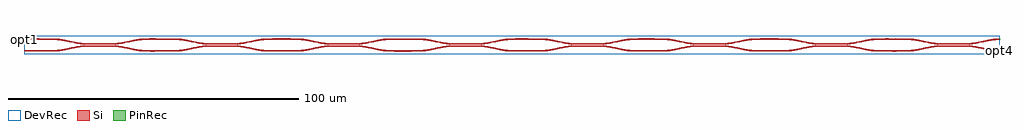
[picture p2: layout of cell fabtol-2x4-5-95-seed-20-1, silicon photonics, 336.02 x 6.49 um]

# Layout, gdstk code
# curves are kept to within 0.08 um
import gdstk
lib = gdstk.Library(unit=1e-6, precision=1e-09)
def R(c, l, rs):  # rectangles x0, y0, x1, y1
    for r in rs: c.add(gdstk.rectangle(r[:2], r[2:], *l))
def P(c, l, *ps):  # polygons
    for p in ps: c.add(gdstk.Polygon(p, *l))
Si = (1, 0)
PinRec = (1, 10)
DevRec = (68, 0)

layer_3_0_phase_sec_3_29 = lib.new_cell('layer-3_0_phase_sec_3$29')
P(layer_3_0_phase_sec_3_29, Si, [(4.977,-0.242),(0,-0.225),(0,0.225),(10,0.225),(10,-0.225)])

layer_3_0_phase_sec_2_29 = lib.new_cell('layer-3_0_phase_sec_2$29')
P(layer_3_0_phase_sec_2_29, Si, [(6.065,-0.238),(0,-0.225),(0,0.225),(10,0.225),(10,-0.225)])

layer_3_0_phase_sec_1_29 = lib.new_cell('layer-3_0_phase_sec_1$29')
P(layer_3_0_phase_sec_1_29, Si, [(5.796,-0.235),(0,-0.225),(0,0.225),(10,0.225),(10,-0.225)])

layer_3_0_phase_sec_0_29 = lib.new_cell('layer-3_0_phase_sec_0$29')
P(layer_3_0_phase_sec_0_29, Si, [(1.539,-0.244),(0,-0.225),(0,0.225),(10,0.225),(10,-0.225)])

layer_2_0_phase_sec_2_29 = lib.new_cell('layer-2_0_phase_sec_2$29')
P(layer_2_0_phase_sec_2_29, Si, [(1.406,-0.244),(0,-0.225),(0,0.225),(10,0.225),(10,-0.225)])

dc_arm_down_29 = lib.new_cell('dc_arm_down$29')
R(dc_arm_down_29, Si, [(12,-0.55,20,-0.1)])
P(dc_arm_down_29, Si, [(32,-2.225),(30.861,-2.188),(29.344,-2.033),(22.966,-0.793),(21.481,-0.613),(20,-0.55),(20,-0.1),(21.139,-0.137),(22.656,-0.292),(29.034,-1.532),(30.519,-1.712),(32,-1.775)],
  [(0,-2.225),(0,-1.775),(1.481,-1.712),(2.966,-1.532),(9.344,-0.292),(10.861,-0.137),(12,-0.1),(12,-0.55),(10.519,-0.613),(9.034,-0.793),(2.656,-2.033),(1.139,-2.188)])

dc_arm_up_29 = lib.new_cell('dc_arm_up$29')
R(dc_arm_up_29, Si, [(12,0.1,20,0.55)])
P(dc_arm_up_29, Si, [(20,0.1),(20,0.55),(21.481,0.613),(22.966,0.793),(29.344,2.033),(30.861,2.188),(32,2.225),(32,1.775),(30.519,1.712),(29.034,1.532),(22.656,0.292),(21.139,0.137)],
  [(12,0.1),(10.861,0.137),(9.344,0.292),(2.966,1.532),(1.481,1.712),(0,1.775),(0,2.225),(1.139,2.188),(2.656,2.033),(9.034,0.793),(10.519,0.613),(12,0.55)])

dc_29 = lib.new_cell('dc$29')
dc_29.add(gdstk.Reference(dc_arm_down_29, (0,0)))
dc_29.add(gdstk.Reference(dc_arm_up_29, (0,0)))

layer_0_0_phase_sec_2_29 = lib.new_cell('layer-0_0_phase_sec_2$29')
P(layer_0_0_phase_sec_2_29, Si, [(1.135,-0.238),(0,-0.225),(0,0.225),(10,0.225),(10,-0.225)])

layer_0_0_phase_sec_3_29 = lib.new_cell('layer-0_0_phase_sec_3$29')
P(layer_0_0_phase_sec_3_29, Si, [(1.544,-0.241),(0,-0.225),(0,0.225),(10,0.225),(10,-0.225)])

layer_1_0_phase_sec_0_29 = lib.new_cell('layer-1_0_phase_sec_0$29')
P(layer_1_0_phase_sec_0_29, Si, [(3.109,-0.242),(0,-0.225),(0,0.225),(10,0.225),(10,-0.225)])

layer_1_0_phase_sec_1_29 = lib.new_cell('layer-1_0_phase_sec_1$29')
P(layer_1_0_phase_sec_1_29, Si, [(2.522,-0.238),(0,-0.225),(0,0.225),(10,0.225),(10,-0.225)])

layer_1_0_phase_sec_2_29 = lib.new_cell('layer-1_0_phase_sec_2$29')
P(layer_1_0_phase_sec_2_29, Si, [(1.066,-0.228),(0,-0.225),(0,0.225),(10,0.225),(10,-0.225)])

layer_2_0_phase_sec_3_29 = lib.new_cell('layer-2_0_phase_sec_3$29')
P(layer_2_0_phase_sec_3_29, Si, [(2.375,-0.235),(0,-0.225),(0,0.225),(10,0.225),(10,-0.225)])

layer_1_0_phase_sec_3_29 = lib.new_cell('layer-1_0_phase_sec_3$29')
P(layer_1_0_phase_sec_3_29, Si, [(2.921,-0.249),(0,-0.225),(0,0.225),(10,0.225),(10,-0.225)])

layer_0_0_phase_sec_0_29 = lib.new_cell('layer-0_0_phase_sec_0$29')
P(layer_0_0_phase_sec_0_29, Si, [(2.12,-0.241),(0,-0.225),(0,0.225),(10,0.225),(10,-0.225)])

layer_2_0_phase_sec_0_29 = lib.new_cell('layer-2_0_phase_sec_0$29')
P(layer_2_0_phase_sec_0_29, Si, [(1.134,-0.239),(0,-0.225),(0,0.225),(10,0.225),(10,-0.225)])

layer_0_0_phase_sec_1_29 = lib.new_cell('layer-0_0_phase_sec_1$29')
P(layer_0_0_phase_sec_1_29, Si, [(2.446,-0.227),(0,-0.225),(0,0.225),(10,0.225),(10,-0.225)])

layer_2_0_phase_sec_1_29 = lib.new_cell('layer-2_0_phase_sec_1$29')
P(layer_2_0_phase_sec_1_29, Si, [(5.965,-0.24),(0,-0.225),(0,0.225),(10,0.225),(10,-0.225)])

fabtol_2x4_5_95_seed_20_ = lib.new_cell('fabtol-2x4-5-95-seed-20-1')
R(fabtol_2x4_5_95_seed_20_, DevRec, [(0,-1,336,5.493)])
fabtol_2x4_5_95_seed_20_.add(gdstk.FlexPath([(335.99,0.249),(336.01,0.249)], 0.45, ends="flush", simple_path=True, layer=1, datatype=10))  # PinRec
fabtol_2x4_5_95_seed_20_.add(gdstk.FlexPath([(335.99,4.249),(336.01,4.249)], 0.45, ends="flush", simple_path=True, layer=1, datatype=10))  # PinRec
fabtol_2x4_5_95_seed_20_.add(gdstk.FlexPath([(0.01,4.249),(-0.01,4.249)], 0.45, ends="flush", simple_path=True, layer=1, datatype=10))  # PinRec
fabtol_2x4_5_95_seed_20_.add(gdstk.Reference(layer_3_0_phase_sec_3_29, (294,0.249)))
fabtol_2x4_5_95_seed_20_.add(gdstk.Reference(layer_3_0_phase_sec_2_29, (294,4.249)))
fabtol_2x4_5_95_seed_20_.add(gdstk.Reference(layer_3_0_phase_sec_1_29, (252,0.249)))
fabtol_2x4_5_95_seed_20_.add(gdstk.Reference(layer_3_0_phase_sec_0_29, (252,4.249)))
fabtol_2x4_5_95_seed_20_.add(gdstk.Reference(layer_2_0_phase_sec_2_29, (210,4.249)))
fabtol_2x4_5_95_seed_20_.add(gdstk.Reference(dc_29, (10,2.249)))
fabtol_2x4_5_95_seed_20_.add(gdstk.Reference(dc_29, (52,2.249)))
fabtol_2x4_5_95_seed_20_.add(gdstk.Reference(dc_29, (94,2.249)))
fabtol_2x4_5_95_seed_20_.add(gdstk.Reference(dc_29, (136,2.249)))
fabtol_2x4_5_95_seed_20_.add(gdstk.Reference(dc_29, (178,2.249)))
fabtol_2x4_5_95_seed_20_.add(gdstk.Reference(dc_29, (220,2.249)))
fabtol_2x4_5_95_seed_20_.add(gdstk.Reference(dc_29, (262,2.249)))
fabtol_2x4_5_95_seed_20_.add(gdstk.Reference(dc_29, (304,2.249)))
fabtol_2x4_5_95_seed_20_.add(gdstk.Reference(layer_0_0_phase_sec_2_29, (42,4.249)))
fabtol_2x4_5_95_seed_20_.add(gdstk.Reference(layer_0_0_phase_sec_3_29, (42,0.249)))
fabtol_2x4_5_95_seed_20_.add(gdstk.Reference(layer_1_0_phase_sec_0_29, (84,4.249)))
fabtol_2x4_5_95_seed_20_.add(gdstk.Reference(layer_1_0_phase_sec_1_29, (84,0.249)))
fabtol_2x4_5_95_seed_20_.add(gdstk.Reference(layer_1_0_phase_sec_2_29, (126,4.249)))
fabtol_2x4_5_95_seed_20_.add(gdstk.Reference(layer_2_0_phase_sec_3_29, (210,0.249)))
fabtol_2x4_5_95_seed_20_.add(gdstk.Reference(layer_1_0_phase_sec_3_29, (126,0.249)))
fabtol_2x4_5_95_seed_20_.add(gdstk.Reference(layer_0_0_phase_sec_0_29, (0,4.249)))
fabtol_2x4_5_95_seed_20_.add(gdstk.Reference(layer_2_0_phase_sec_0_29, (168,4.249)))
fabtol_2x4_5_95_seed_20_.add(gdstk.Reference(layer_0_0_phase_sec_1_29, (0,0.249)))
fabtol_2x4_5_95_seed_20_.add(gdstk.Reference(layer_2_0_phase_sec_1_29, (168,0.249)))
fabtol_2x4_5_95_seed_20_.add(gdstk.Label('opt4', (336,0.249), layer=1, texttype=10))
fabtol_2x4_5_95_seed_20_.add(gdstk.Label('opt3', (336,4.249), layer=1, texttype=10))
fabtol_2x4_5_95_seed_20_.add(gdstk.Label('opt1', (0,4.249), layer=1, texttype=10))

lib.write_gds('fabtol-2x4-5-95-seed-20-1.gds')
